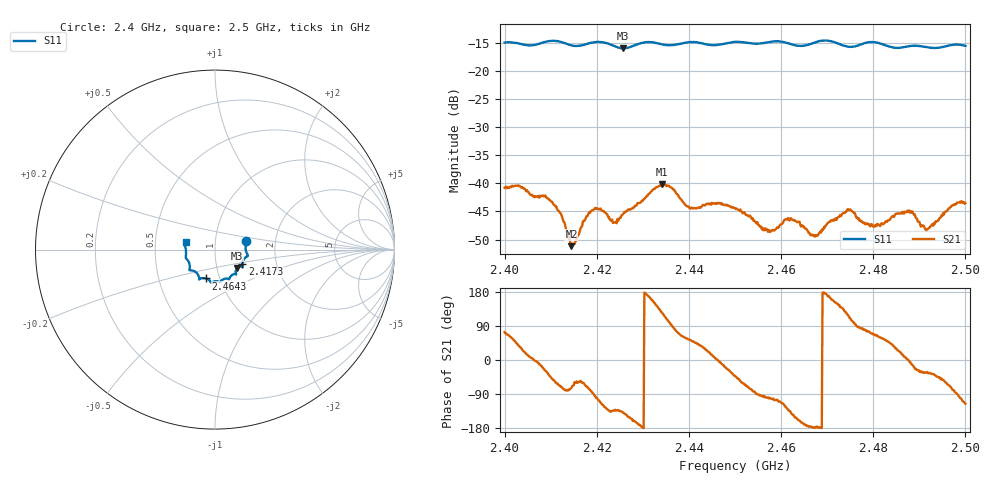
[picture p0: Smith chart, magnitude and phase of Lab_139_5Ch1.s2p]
# Hz S RI R 50
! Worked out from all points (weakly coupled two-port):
!   601 points, 2.4 GHz to 2.5 GHz, reference 50 ohm
!   highest |S21| = -40.18 dB at 2.4342 GHz (marker M1); lowest = -51.2 dB at 2.4145 GHz (marker M2)
!   lowest |S11| = -15.9 dB at 2.4257 GHz (marker M3), VSWR 1.38, Z = 62.5 - j13.1 ohm
!   |S11| at or under -10 dB: start of sweep to end of sweep
!   S12 and S22 are empty: the file has one direction only
!   S11 on the Smith chart (normalised r, x): 2.4 GHz: 1.41, +0.14; 2.4173 GHz: 1.34, -0.23; 2.4643 GHz: 0.86, -0.29; 2.5 GHz: 0.72, +0.06
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2.4e9  0.1736 0.049  0.00262 0.00876  0 0  0 0
2.409333e9  0.1826 -0.0297  0.00609 -0.00423  0 0  0 0
2.412167e9  0.1792 -0.0372  0.00198 -0.00505  0 0  0 0
2.4145e9  0.1627 -0.0508  0.000769 -0.00265  0 0  0 0
2.416667e9  0.153 -0.0744  0.00215 -0.00349  0 0  0 0
2.417333e9  0.1522 -0.0819  0.00204 -0.00417  0 0  0 0
2.419833e9  0.1544 -0.097  -0.00102 -0.00584  0 0  0 0
2.423833e9  0.1385 -0.0943  -0.00305 -0.00329  0 0  0 0
2.425667e9  0.1231 -0.1025  -0.00399 -0.00348  0 0  0 0
2.433333e9  0.1126 -0.1364  -0.00701 0.00623  0 0  0 0
2.434167e9  0.1077 -0.1361  -0.00564 0.00801  0 0  0 0
2.440333e9  0.0794 -0.1641  0.00363 0.00472  0 0  0 0
2.45e9  0.0292 -0.1808  0.00446 -0.00404  0 0  0 0
2.456667e9  -0.0114 -0.1797  -0.000533 -0.00381  0 0  0 0
2.464333e9  -0.0499 -0.1608  -0.00398 -0.0011  0 0  0 0
2.466667e9  -0.0759 -0.1597  -0.00349 -0.000231  0 0  0 0
2.474667e9  -0.1029 -0.1293  -0.00253 0.0052  0 0  0 0
2.4795e9  -0.1421 -0.1144  0.00145 0.00407  0 0  0 0
2.483333e9  -0.1406 -0.09  0.00318 0.00346  0 0  0 0
2.488e9  -0.1602 -0.0509  0.00548 -0.000474  0 0  0 0
2.491833e9  -0.1614 -0.0269  0.00327 -0.0022  0 0  0 0
2.5e9  -0.1633 0.0418  -0.00284 -0.00603  0 0  0 0
